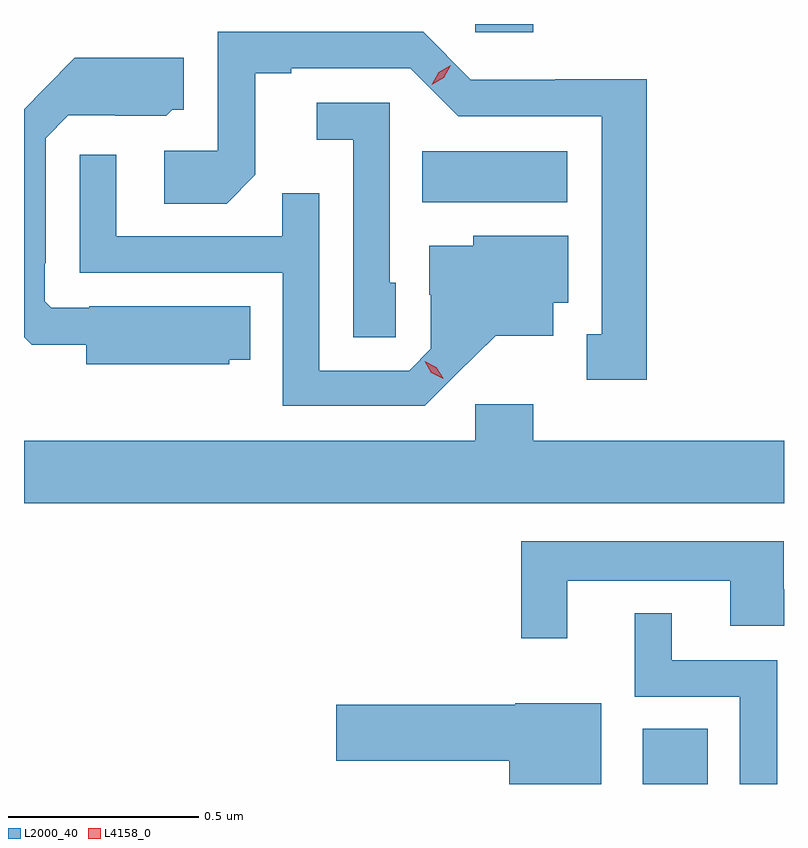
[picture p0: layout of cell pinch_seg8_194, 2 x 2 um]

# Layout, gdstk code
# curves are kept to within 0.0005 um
import gdstk
lib = gdstk.Library(unit=1e-6, precision=1e-09)
def R(c, l, rs):  # rectangles x0, y0, x1, y1
    for r in rs: c.add(gdstk.rectangle(r[:2], r[2:], *l))
def P(c, l, *ps):  # polygons
    for p in ps: c.add(gdstk.Polygon(p, *l))
L2000_40 = (2000, 40)
L4158_0 = (4158, 0)

pinch_seg8_194 = lib.new_cell('pinch_seg8_194')
R(pinch_seg8_194, L2000_40, [(641.666,1158.385,641.837,1158.53), (641.086,1159.916,641.467,1160.05), (641.226,1160.363,641.378,1160.385)])
P(pinch_seg8_194, L2000_40, [(641.677,1160.24),(641.436,1160.24),(641.436,1160.238),(641.214,1160.238),(641.088,1160.364),(640.548,1160.364),(640.548,1160.052),(640.407,1160.052),(640.407,1159.912),(640.571,1159.912),(640.647,1159.988),(640.647,1160.256),(640.741,1160.256),(640.741,1160.268),(641.055,1160.268),(641.181,1160.142),(641.558,1160.142),(641.558,1159.569),(641.519,1159.569),(641.519,1159.449),(641.677,1159.449)],
  [(640.578,1159.502),(640.634,1159.502),(640.634,1159.642),(640.21,1159.642),(640.21,1159.638),(640.11,1159.638),(640.092,1159.656),(640.092,1159.756),(640.095,1159.756),(640.095,1160.085),(640.155,1160.145),(640.278,1160.145),(640.278,1160.144),(640.412,1160.144),(640.428,1160.16),(640.459,1160.16),(640.459,1160.296),(640.171,1160.296),(640.038,1160.161),(640.038,1159.561),(640.058,1159.541),(640.202,1159.541),(640.202,1159.49),(640.578,1159.49)],
  [(641.016,1159.704),(641.001,1159.704),(641.001,1160.178),(640.809,1160.178),(640.809,1160.081),(640.905,1160.081),(640.905,1159.561),(641.016,1159.561)],
  [(641.176,1159.463),(641.279,1159.565),(641.431,1159.565),(641.431,1159.652),(641.47,1159.652),(641.47,1159.828),(641.22,1159.828),(641.22,1159.801),(641.105,1159.801),(641.105,1159.672),(641.109,1159.672),(641.109,1159.53),(641.052,1159.473),(640.815,1159.473),(640.815,1159.94),(640.717,1159.94),(640.717,1159.827),(640.281,1159.827),(640.281,1160.041),(640.185,1160.041),(640.185,1159.731),(640.719,1159.731),(640.719,1159.38),(641.092,1159.38)],
  [(642.038,1159.288),(641.378,1159.288),(641.378,1159.384),(641.226,1159.384),(641.226,1159.288),(640.038,1159.288),(640.038,1159.124),(642.038,1159.124)],
  [(641.467,1158.92),(641.897,1158.92),(641.897,1158.801),(642.038,1158.801),(642.038,1158.897),(642.037,1158.897),(642.037,1159.024),(641.346,1159.024),(641.346,1158.768),(641.467,1158.768)],
  [(642.02,1158.711),(641.743,1158.711),(641.743,1158.835),(641.645,1158.835),(641.645,1158.615),(641.922,1158.615),(641.922,1158.385),(642.02,1158.385)],
  [(641.557,1158.598),(641.331,1158.598),(641.331,1158.593),(640.86,1158.593),(640.86,1158.446),(641.315,1158.446),(641.315,1158.385),(641.557,1158.385)])
P(pinch_seg8_194, L4158_0, [(641.111,1160.225),(641.111,1160.225),(641.129,1160.258),(641.161,1160.276),(641.161,1160.276),(641.161,1160.276),(641.143,1160.244),(641.111,1160.225)],
  [(641.141,1159.452),(641.11,1159.467),(641.092,1159.497),(641.092,1159.497),(641.092,1159.497),(641.123,1159.482),(641.141,1159.453),(641.141,1159.452)])

lib.write_gds('pinch_seg8_194.gds')
